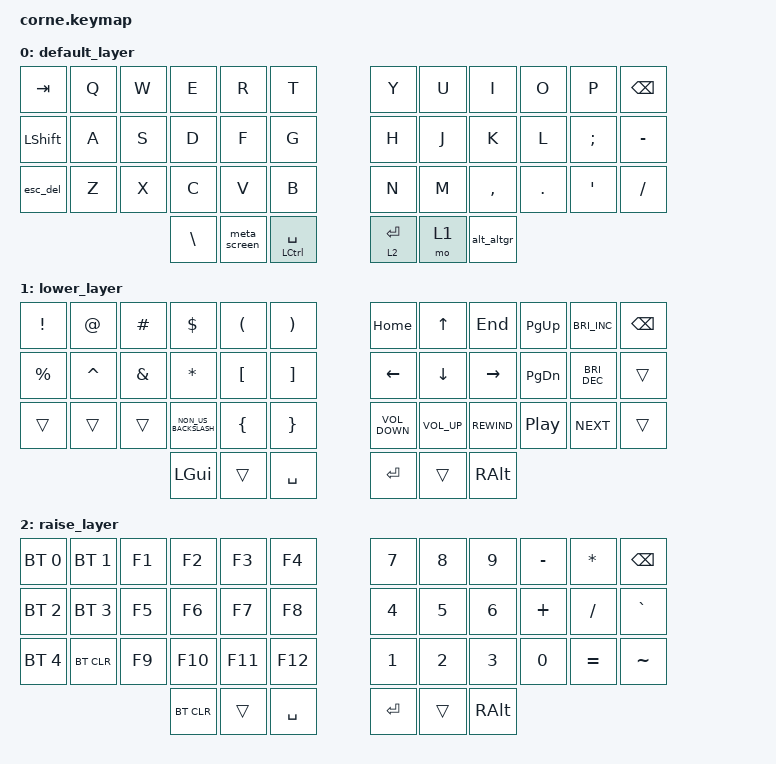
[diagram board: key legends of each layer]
/*
 * Copyright (c) 2020 The ZMK Contributors
 *
 * SPDX-License-Identifier: MIT
 */

#include <behaviors.dtsi>
#include <dt-bindings/zmk/bt.h>
#include <dt-bindings/zmk/keys.h>

/ {
    behaviors {
        esc_del: esc_del {
            compatible = "zmk,behavior-tap-dance";
            label = "ESC_DEL";
            #binding-cells = <0>;
            bindings = <&kp ESC>, <&kp DELETE>;
        };

        meta_screen: meta_screen {
            compatible = "zmk,behavior-tap-dance";
            label = "META_SCREEN";
            #binding-cells = <0>;
            bindings = <&kp LGUI>, <&kp PRINTSCREEN>;
        };

        alt_altgr: alt_altgr {
            compatible = "zmk,behavior-tap-dance";
            label = "ALT_ALTGR";
            #binding-cells = <0>;
            bindings = <&kp RIGHT_ALT>, <&kp LEFT_ALT>;
        };
    };

    keymap {
        compatible = "zmk,keymap";

        default_layer {
            // -----------------------------------------------------------------------------------------
            // |  TAB |  Q  |  W  |  E  |  R  |  T  |   |  Y  |  U   |  I  |  O  |  P  | BSPC |
            // | CTRL |  A  |  S  |  D  |  F  |  G  |   |  H  |  J   |  K  |  L  |  ;  |  '   |
            // | SHFT |  Z  |  X  |  C  |  V  |  B  |   |  N  |  M   |  ,  |  .  |  /  | ESC  |
            //                    | GUI | LWR | SPC |   | ENT | RSE  | ALT |

            bindings = <
&kp TAB         &kp Q  &kp W  &kp E          &kp R         &kp T              &kp Y      &kp U  &kp I       &kp O    &kp P           &kp BSPC
&kp LEFT_SHIFT  &kp A  &kp S  &kp D          &kp F         &kp G              &kp H      &kp J  &kp K       &kp L    &kp SEMI        &kp MINUS
&esc_del        &kp Z  &kp X  &kp C          &kp V         &kp B              &kp N      &kp M  &kp COMMA   &kp DOT  &kp APOSTROPHE  &kp SLASH
                              &kp BACKSLASH  &meta_screen  &mt LCTRL SPACE    &lt 2 RET  &mo 1  &alt_altgr
            >;
        };

        lower_layer {
            // -----------------------------------------------------------------------------------------
            // |  TAB |  1  |  2  |  3  |  4  |  5  |   |  6  |  7  |  8  |  9  |  0  | BSPC |
            // | BTCLR| BT1 | BT2 | BT3 | BT4 | BT5 |   | LFT | DWN |  UP | RGT |     |      |
            // | SHFT |     |     |     |     |     |   |     |     |     |     |     |      |
            //                    | GUI |     | SPC |   | ENT |     | ALT |

            bindings = <
&kp EXCLAMATION  &kp AT_SIGN  &kp POUND      &kp DOLLAR            &kp LEFT_PARENTHESIS  &kp RIGHT_PARENTHESIS    &kp HOME           &kp UP_ARROW     &kp END          &kp PAGE_UP       &kp C_BRIGHTNESS_INC  &kp BSPC
&kp PERCENT      &kp CARET    &kp AMPERSAND  &kp ASTERISK          &kp LEFT_BRACKET      &kp RIGHT_BRACKET        &kp LEFT           &kp DOWN         &kp RIGHT_ARROW  &kp PAGE_DOWN     &kp C_BRIGHTNESS_DEC  &trans
&trans           &trans       &trans         &kp NON_US_BACKSLASH  &kp LEFT_BRACE        &kp RIGHT_BRACE          &kp C_VOLUME_DOWN  &kp C_VOLUME_UP  &kp C_REWIND     &kp C_PLAY_PAUSE  &kp C_NEXT            &trans
                                             &kp LGUI              &trans                &kp SPACE                &kp RET            &trans           &kp RALT
            >;
        };

        raise_layer {
            // -----------------------------------------------------------------------------------------
            // |  TAB |  !  |  @  |  #  |  $  |  %  |   |  ^  |  &  |  *  |  (  |  )  | BSPC |
            // | CTRL |     |     |     |     |     |   |  -  |  =  |  [  |  ]  |  \  |  `   |
            // | SHFT |     |     |     |     |     |   |  _  |  +  |  {  |  }  | "|" |  ~   |
            //                    | GUI |     | SPC |   | ENT |     | ALT |

            bindings = <
&bt BT_SEL 0  &bt BT_SEL 1  &kp F1  &kp F2      &kp F3   &kp F4       &kp N7        &kp N8        &kp NUMBER_9  &kp MINUS  &kp ASTERISK  &kp BSPC
&bt BT_SEL 2  &bt BT_SEL 3  &kp F5  &kp F6      &kp F7   &kp F8       &kp NUMBER_4  &kp N5        &kp NUMBER_6  &kp PLUS   &kp SLASH     &kp GRAVE
&bt BT_SEL 4  &bt BT_CLR    &kp F9  &kp F10     &kp F11  &kp F12      &kp NUMBER_1  &kp NUMBER_2  &kp NUMBER_3  &kp N0     &kp EQUAL     &kp TILDE
                                    &bt BT_CLR  &trans   &kp SPACE    &kp RET       &trans        &kp RALT
            >;
        };
    };
};
